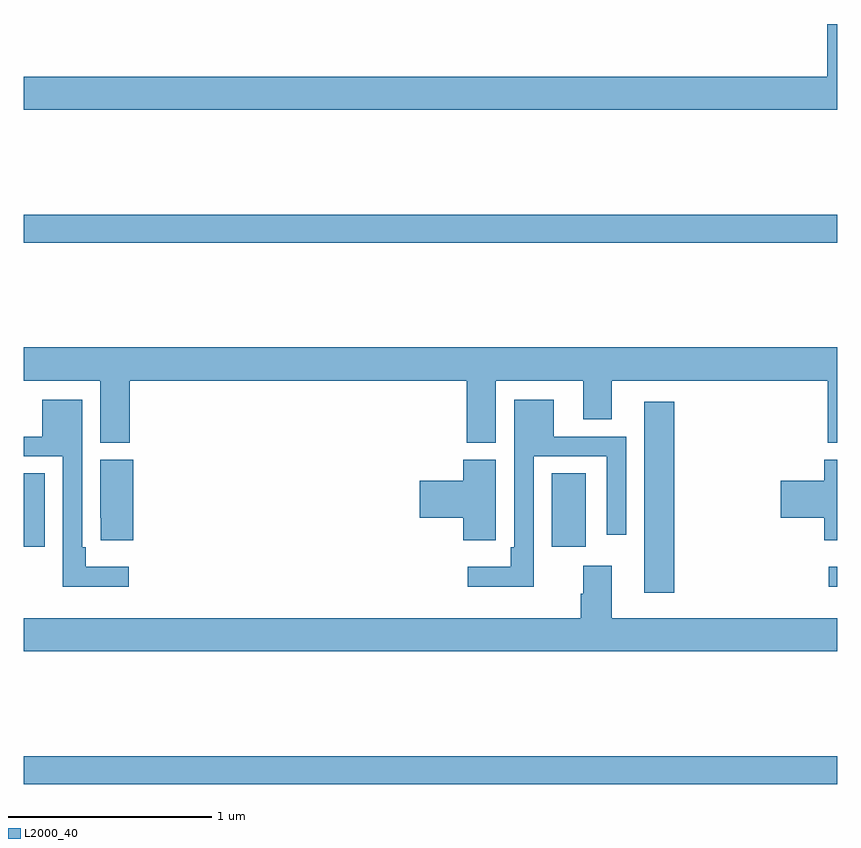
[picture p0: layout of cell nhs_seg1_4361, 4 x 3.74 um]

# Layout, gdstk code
import gdstk
lib = gdstk.Library(unit=1e-6, precision=1e-09)
def R(c, l, rs):  # rectangles x0, y0, x1, y1
    for r in rs: c.add(gdstk.rectangle(r[:2], r[2:], *l))
def P(c, l, *ps):  # polygons
    for p in ps: c.add(gdstk.Polygon(p, *l))
L2000_40 = (2000, 40)

nhs_seg1_4361 = lib.new_cell('nhs_seg1_4361')
R(nhs_seg1_4361, L2000_40, [(349,504.46,353,504.596), (352.052,505.401,352.199,506.341), (352.959,505.43,353,505.528), (349,505.626,349.102,505.988), (351.596,505.626,351.763,505.988), (349,507.124,353,507.26)])
P(nhs_seg1_4361, L2000_40, [(353,508.199),(352.952,508.199),(352.952,507.94),(349,507.94),(349,507.776),(353,507.776)],
  [(349.52,506.444),(351.179,506.444),(351.179,506.14),(351.322,506.14),(351.322,506.444),(351.752,506.444),(351.752,506.254),(351.892,506.254),(351.892,506.444),(352.955,506.444),(352.955,506.14),(353,506.14),(353,506.608),(349,506.608),(349,506.444),(349.376,506.444),(349.376,506.14),(349.52,506.14)],
  [(349.516,505.528),(349.303,505.528),(349.303,505.624),(349.287,505.624),(349.287,506.35),(349.091,506.35),(349.091,506.169),(349,506.169),(349,506.073),(349.191,506.073),(349.191,505.43),(349.516,505.43)],
  [(351.507,506.073),(351.867,506.073),(351.867,505.686),(351.963,505.686),(351.963,506.169),(351.607,506.169),(351.607,506.35),(351.411,506.35),(351.411,505.624),(351.395,505.624),(351.395,505.528),(351.183,505.528),(351.183,505.43),(351.507,505.43)],
  [(353,506.055),(352.937,506.055),(352.937,505.952),(352.722,505.952),(352.722,505.769),(352.937,505.769),(352.937,505.659),(353,505.659)],
  [(351.321,505.771),(351.322,505.771),(351.322,506.055),(351.161,506.055),(351.161,505.952),(350.946,505.952),(350.946,505.769),(351.161,505.769),(351.161,505.659),(351.321,505.659)],
  [(349.538,506.055),(349.376,506.055),(349.376,505.771),(349.377,505.771),(349.377,505.659),(349.538,505.659)],
  [(353,505.276),(351.892,505.276),(351.892,505.534),(351.752,505.534),(351.752,505.397),(351.74,505.397),(351.74,505.276),(349,505.276),(349,505.112),(353,505.112)])

lib.write_gds('nhs_seg1_4361.gds')
